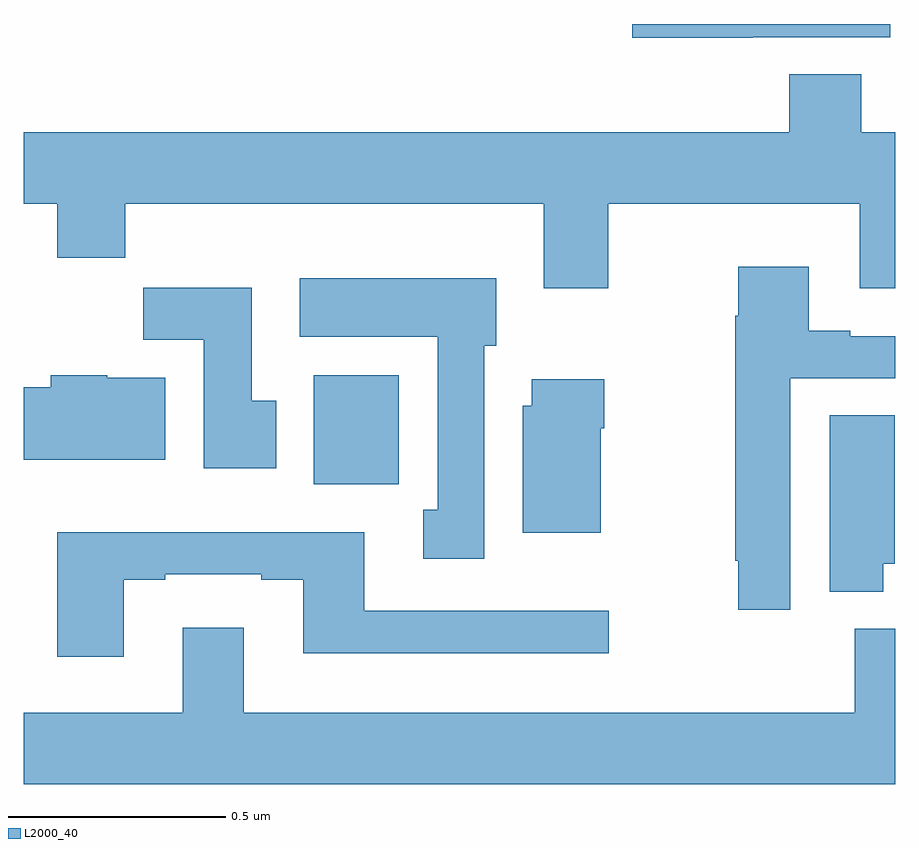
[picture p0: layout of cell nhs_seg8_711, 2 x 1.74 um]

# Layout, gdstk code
import gdstk
lib = gdstk.Library(unit=1e-6, precision=1e-09)
def R(c, l, rs):  # rectangles x0, y0, x1, y1
    for r in rs: c.add(gdstk.rectangle(r[:2], r[2:], *l))
def P(c, l, *ps):  # polygons
    for p in ps: c.add(gdstk.Polygon(p, *l))
L2000_40 = (2000, 40)

nhs_seg8_711 = lib.new_cell('nhs_seg8_711')
R(nhs_seg8_711, L2000_40, [(120.665,1127.844,120.861,1128.094)])
P(nhs_seg8_711, L2000_40, [(121.673,1128.87),(121.989,1128.87),(121.989,1128.9),(121.396,1128.9),(121.396,1128.869),(121.673,1128.869)],
  [(121.341,1128.488),(121.919,1128.488),(121.919,1128.294),(122,1128.294),(122,1128.652),(121.922,1128.652),(121.922,1128.785),(121.757,1128.785),(121.757,1128.652),(120,1128.652),(120,1128.488),(120.077,1128.488),(120.077,1128.364),(120.233,1128.364),(120.233,1128.488),(121.193,1128.488),(121.193,1128.294),(121.341,1128.294)],
  [(121.759,1128.087),(122,1128.087),(122,1128.183),(121.897,1128.183),(121.897,1128.196),(121.801,1128.196),(121.801,1128.343),(121.64,1128.343),(121.64,1128.23),(121.633,1128.23),(121.633,1127.668),(121.64,1127.668),(121.64,1127.556),(121.759,1127.556)],
  [(121.057,1128.162),(121.084,1128.162),(121.084,1128.316),(120.633,1128.316),(120.633,1128.182),(120.95,1128.182),(120.95,1127.785),(120.917,1127.785),(120.917,1127.673),(121.057,1127.673)],
  [(120.58,1128.036),(120.523,1128.036),(120.523,1128.295),(120.274,1128.295),(120.274,1128.176),(120.413,1128.176),(120.413,1127.88),(120.58,1127.88)],
  [(120.325,1128.088),(120.192,1128.088),(120.192,1128.094),(120.062,1128.094),(120.062,1128.066),(120,1128.066),(120,1127.9),(120.325,1127.9)],
  [(121.324,1127.972),(121.332,1127.972),(121.332,1128.085),(121.166,1128.085),(121.166,1128.024),(121.145,1128.024),(121.145,1127.732),(121.324,1127.732)],
  [(121.972,1127.661),(121.999,1127.661),(121.999,1128.002),(121.85,1128.002),(121.85,1127.597),(121.972,1127.597)],
  [(120.229,1127.625),(120.325,1127.625),(120.325,1127.637),(120.545,1127.637),(120.545,1127.625),(120.641,1127.625),(120.641,1127.456),(121.342,1127.456),(121.342,1127.553),(120.781,1127.553),(120.781,1127.734),(120.077,1127.734),(120.077,1127.448),(120.229,1127.448)],
  [(122,1127.512),(121.907,1127.512),(121.907,1127.32),(120.505,1127.32),(120.505,1127.515),(120.365,1127.515),(120.365,1127.32),(120,1127.32),(120,1127.156),(122,1127.156)])

lib.write_gds('nhs_seg8_711.gds')
